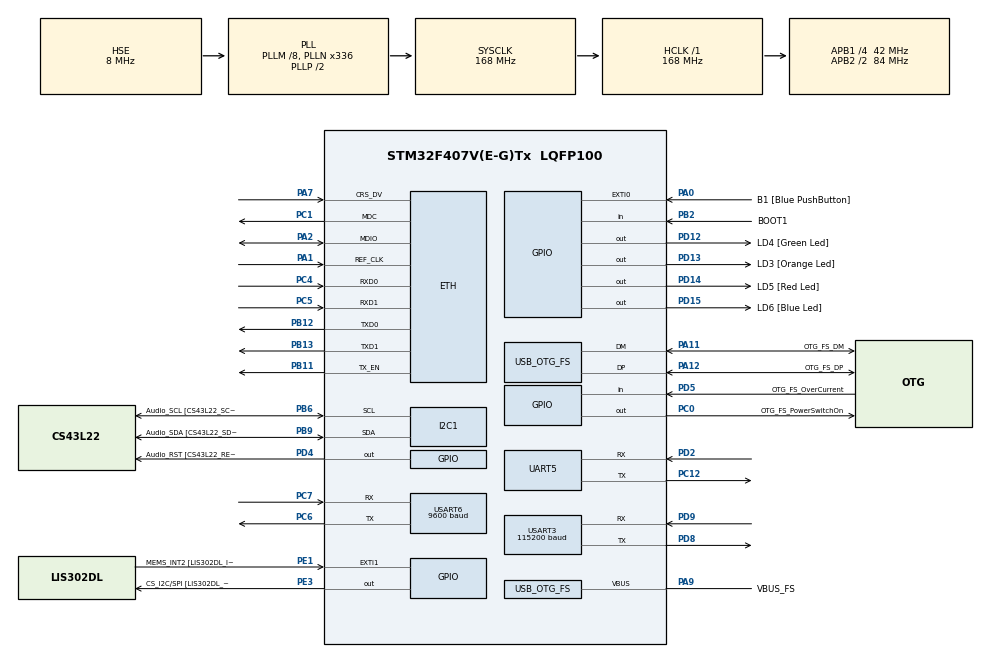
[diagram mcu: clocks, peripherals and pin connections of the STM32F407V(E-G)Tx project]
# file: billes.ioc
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ETH.MACAddr=00\:80\:E1\:00\:00\:29
ETH.MediaInterface=ETH_MEDIA_INTERFACE_RMII
ETH.PhyAddress=0
LWIP.GATEWAY_ADDRESS=192.168.001.254
LWIP.IP_ADDRESS=192.168.001.029
LWIP.LWIP_DHCP=0
LWIP.LWIP_HTTPD=1
LWIP.LWIP_HTTPD_CUSTOM_FILES=1
LWIP.LWIP_HTTPD_DYNAMIC_HEADERS=1
LWIP.NETMASK_ADDRESS=255.255.255.000
LWIP.Version=v2.0.3_Cube
Mcu.Family=STM32F4
Mcu.Name=STM32F407V(E-G)Tx
Mcu.Package=LQFP100
NVIC.OTG_FS_IRQn=true\:0\:0\:false\:false\:true\:true\:true
NVIC.PriorityGroup=NVIC_PRIORITYGROUP_0
NVIC.USART3_IRQn=true\:0\:0\:false\:false\:true\:true\:true
NVIC.USART6_IRQn=true\:0\:0\:false\:false\:true\:true\:true
PA0-WKUP.GPIO_Label=B1 [Blue PushButton]
PA0-WKUP.GPIO_ModeDefaultEXTI=GPIO_MODE_EVT_RISING
PA0-WKUP.GPIO_PuPd=GPIO_NOPULL
PA0-WKUP.Signal=GPXTI0
PA1.Mode=RMII
PA1.Signal=ETH_REF_CLK
PA10.GPIO_Label=OTG_FS_ID
PA10.GPIO_Mode=GPIO_MODE_AF_PP
PA10.GPIO_PuPd=GPIO_NOPULL
PA10.GPIO_Speed=GPIO_SPEED_FREQ_LOW
PA10.Signal=USB_OTG_FS_ID
PA11.GPIO_Label=OTG_FS_DM
PA11.GPIO_Mode=GPIO_MODE_AF_PP
PA11.GPIO_PuPd=GPIO_NOPULL
PA11.GPIO_Speed=GPIO_SPEED_FREQ_LOW
PA11.Mode=Host_Only
PA11.Signal=USB_OTG_FS_DM
PA12.GPIO_Label=OTG_FS_DP
PA12.GPIO_Mode=GPIO_MODE_AF_PP
PA12.GPIO_PuPd=GPIO_NOPULL
PA12.GPIO_Speed=GPIO_SPEED_FREQ_LOW
PA12.Mode=Host_Only
PA12.Signal=USB_OTG_FS_DP
PA13.GPIO_Label=SWDIO
PA13.Mode=Serial_Wire
PA13.Signal=SYS_JTMS-SWDIO
PA14.GPIO_Label=SWCLK
PA14.Mode=Serial_Wire
PA14.Signal=SYS_JTCK-SWCLK
PA2.Mode=RMII
PA2.Signal=ETH_MDIO
PA4.GPIO_Label=I2S3_WS [CS43L22_LRCK]
PA4.GPIO_Mode=GPIO_MODE_AF_PP
PA4.GPIO_PuPd=GPIO_NOPULL
PA4.GPIO_Speed=GPIO_SPEED_FREQ_LOW
PA4.Signal=I2S3_WS
PA5.GPIO_Label=SPI1_SCK [LIS302DL_SCL/SPC]
PA5.GPIO_Mode=GPIO_MODE_AF_PP
PA5.GPIO_PuPd=GPIO_NOPULL
PA5.GPIO_Speed=GPIO_SPEED_FREQ_LOW
PA5.Signal=SPI1_SCK
PA6.GPIO_Label=SPI1_MISO [LIS302DL_SDO]
PA6.GPIO_Mode=GPIO_MODE_AF_PP
PA6.GPIO_PuPd=GPIO_NOPULL
PA6.GPIO_Speed=GPIO_SPEED_FREQ_LOW
PA6.Signal=SPI1_MISO
PA7.Mode=RMII
PA7.Signal=ETH_CRS_DV
PA9.GPIO_Label=VBUS_FS
PA9.GPIO_Mode=GPIO_MODE_INPUT
PA9.GPIO_PuPd=GPIO_NOPULL
PA9.Mode=Activate_VBUS
PA9.Signal=USB_OTG_FS_VBUS
PB10.GPIO_Label=CLK_IN [MP45DT02_CLK]
PB10.GPIO_Mode=GPIO_MODE_AF_PP
PB10.GPIO_PuPd=GPIO_NOPULL
PB10.GPIO_Speed=GPIO_SPEED_FREQ_LOW
PB10.Signal=I2S2_CK
PB11.Mode=RMII
PB11.Signal=ETH_TX_EN
PB12.Mode=RMII
PB12.Signal=ETH_TXD0
PB13.Mode=RMII
PB13.Signal=ETH_TXD1
PB2.GPIO_Label=BOOT1
PB2.GPIO_Mode=GPIO_MODE_INPUT
PB2.GPIO_PuPd=GPIO_NOPULL
PB2.Signal=GPIO_Input
PB3.GPIO_Label=SWO
PB3.Signal=SYS_JTDO-SWO
PB6.GPIO_Label=Audio_SCL [CS43L22_SCL]
PB6.GPIO_Mode=GPIO_MODE_AF_OD
PB6.GPIO_PuPd=GPIO_NOPULL
PB6.GPIO_Speed=GPIO_SPEED_FREQ_LOW
PB6.Mode=I2C
PB6.Signal=I2C1_SCL
PB9.GPIO_Label=Audio_SDA [CS43L22_SDA]
PB9.GPIO_Mode=GPIO_MODE_AF_OD
PB9.GPIO_PuPd=GPIO_NOPULL
PB9.GPIO_Speed=GPIO_SPEED_FREQ_LOW
PB9.Mode=I2C
PB9.Signal=I2C1_SDA
PC0.GPIO_Label=OTG_FS_PowerSwitchOn
PC0.GPIO_PuPd=GPIO_NOPULL
PC0.GPIO_Speed=GPIO_SPEED_FREQ_LOW
PC0.PinState=GPIO_PIN_SET
PC0.Signal=GPIO_Output
PC1.Mode=RMII
PC1.Signal=ETH_MDC
PC10.GPIO_Label=I2S3_SCK [CS43L22_SCLK]
PC10.GPIO_Mode=GPIO_MODE_AF_PP
PC10.GPIO_PuPd=GPIO_NOPULL
PC10.GPIO_Speed=GPIO_SPEED_FREQ_LOW
PC10.Signal=I2S3_CK
PC12.Mode=Asynchronous
PC12.Signal=UART5_TX
PC14-OSC32_IN.GPIO_Label=PC14-OSC32_IN
PC14-OSC32_IN.Mode=LSE-External-Oscillator
PC14-OSC32_IN.Signal=RCC_OSC32_IN
PC15-OSC32_OUT.GPIO_Label=PC15-OSC32_OUT
PC15-OSC32_OUT.Mode=LSE-External-Oscillator
PC15-OSC32_OUT.Signal=RCC_OSC32_OUT
PC3.GPIO_Label=PDM_OUT [MP45DT02_DOUT]
PC3.GPIO_Mode=GPIO_MODE_AF_PP
PC3.GPIO_PuPd=GPIO_NOPULL
PC3.GPIO_Speed=GPIO_SPEED_FREQ_LOW
PC3.Signal=I2S2_SD
PC4.Mode=RMII
PC4.Signal=ETH_RXD0
PC5.Mode=RMII
PC5.Signal=ETH_RXD1
PC6.Mode=Asynchronous
PC6.Signal=USART6_TX
PC7.Mode=Asynchronous
PC7.Signal=USART6_RX
PD12.GPIO_Label=LD4 [Green Led]
PD12.GPIO_PuPd=GPIO_NOPULL
PD12.GPIO_Speed=GPIO_SPEED_FREQ_LOW
PD12.Signal=GPIO_Output
PD13.GPIO_Label=LD3 [Orange Led]
PD13.GPIO_PuPd=GPIO_NOPULL
PD13.GPIO_Speed=GPIO_SPEED_FREQ_LOW
PD13.Signal=GPIO_Output
PD14.GPIO_Label=LD5 [Red Led]
PD14.GPIO_PuPd=GPIO_NOPULL
PD14.GPIO_Speed=GPIO_SPEED_FREQ_LOW
PD14.Signal=GPIO_Output
PD15.GPIO_Label=LD6 [Blue Led]
PD15.GPIO_PuPd=GPIO_NOPULL
PD15.GPIO_Speed=GPIO_SPEED_FREQ_LOW
PD15.Signal=GPIO_Output
PD2.Mode=Asynchronous
PD2.Signal=UART5_RX
PD4.GPIO_Label=Audio_RST [CS43L22_RESET]
PD4.GPIO_PuPd=GPIO_NOPULL
PD4.GPIO_Speed=GPIO_SPEED_FREQ_LOW
PD4.Signal=GPIO_Output
PD5.GPIO_Label=OTG_FS_OverCurrent
PD5.GPIO_Mode=GPIO_MODE_INPUT
PD5.GPIO_PuPd=GPIO_NOPULL
PD5.Signal=GPIO_Input
PD8.Mode=Asynchronous
PD8.Signal=USART3_TX
PD9.Mode=Asynchronous
PD9.Signal=USART3_RX
PE1.GPIO_Label=MEMS_INT2 [LIS302DL_INT2]
PE1.GPIO_ModeDefaultEXTI=GPIO_MODE_EVT_RISING
PE1.GPIO_PuPd=GPIO_NOPULL
PE1.Signal=GPXTI1
PE3.GPIO_Label=CS_I2C/SPI [LIS302DL_CS_I2C/SPI]
PE3.GPIO_PuPd=GPIO_NOPULL
PE3.GPIO_Speed=GPIO_SPEED_FREQ_LOW
PE3.Signal=GPIO_Output
PH0-OSC_IN.GPIO_Label=PH0-OSC_IN
PH0-OSC_IN.Mode=HSE-External-Oscillator
PH0-OSC_IN.Signal=RCC_OSC_IN
PH1-OSC_OUT.GPIO_Label=PH1-OSC_OUT
PH1-OSC_OUT.Mode=HSE-External-Oscillator
PH1-OSC_OUT.Signal=RCC_OSC_OUT
ProjectManager.HeapSize=0x200
ProjectManager.StackSize=0x400
ProjectManager.TargetToolchain=Makefile
RCC.48MHZClocksFreq_Value=48000000
RCC.AHBFreq_Value=168000000
RCC.APB1CLKDivider=RCC_HCLK_DIV4
RCC.APB1Freq_Value=42000000
RCC.APB1TimFreq_Value=84000000
RCC.APB2CLKDivider=RCC_HCLK_DIV2
RCC.APB2Freq_Value=84000000
RCC.APB2TimFreq_Value=168000000
RCC.CortexFreq_Value=168000000
RCC.HCLKFreq_Value=168000000
RCC.HSE_VALUE=8000000
RCC.HSI_VALUE=16000000
RCC.PLLM=8
RCC.PLLN=336
RCC.PLLQ=7
RCC.SYSCLKFreq_VALUE=168000000
RCC.SYSCLKSource=RCC_SYSCLKSOURCE_PLLCLK
RCC.VCOOutputFreq_Value=336000000
UART5.VirtualMode=Asynchronous
USART3.BaudRate=115200
USART3.VirtualMode=VM_ASYNC
USART6.BaudRate=9600
USART6.VirtualMode=VM_ASYNC
USB_HOST.BSP.number=1
USB_HOST.USBH_HandleTypeDef-CDC_FS=hUsbHostFS
USB_HOST.VirtualModeFS=Cdc
USB_HOST0.BSP.STBoard=false
USB_HOST0.BSP.api=Unknown
USB_HOST0.BSP.i2caddr=0
USB_HOST0.BSP.i2creg=0
USB_HOST0.BSP.instance=PC0
USB_HOST0.BSP.ip=GPIO
USB_HOST0.BSP.mode=Output
USB_HOST0.BSP.name=Drive_VBUS_FS
USB_HOST0.BSP.solution=PC0
USB_OTG_FS.VirtualMode=Host_Only
USB_OTG_FS.phy_itface=HCD_PHY_EMBEDDED
VP_LWIP_VS_Enabled.Mode=Enabled
VP_USB_HOST_VS_USB_HOST_CDC_FS.Mode=CDC_FS
board=STM32F407G-DISC1

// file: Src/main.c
/* USER CODE BEGIN Header */
/**
 ******************************************************************************
 * @file           : main.c
 * @brief          : Main program body
 ******************************************************************************
 * @attention
 *
 * <h2><center>&copy; Copyright (c) 2019 STMicroelectronics.
 * All rights reserved.</center></h2>
 *
 * This software component is licensed by ST under Ultimate Liberty license
 * SLA0044, the "License"; You may not use this file except in compliance with
 * the License. You may obtain a copy of the License at:
 *                             www.st.com/SLA0044
 *
 ******************************************************************************
 */
/* USER CODE END Header */

#include "main.h"
#include "lwip.h"
#include "usb_host.h"

/* USER CODE BEGIN Includes */
#include "httpd.h"
#include <stdio.h>
#include <string.h>

#include <bum_player.h>

/* USER CODE END Includes */

/* USER CODE BEGIN PD */

#define PLAYER_NAME "Jojo"

/* USER CODE END PD */

I2C_HandleTypeDef hi2c1;

UART_HandleTypeDef huart5;
UART_HandleTypeDef huart3;
UART_HandleTypeDef huart6;

/* USER CODE BEGIN PV */

event e;

#define TIM2_MS 10
#define BUMPER_DT_MS 100

/* USER CODE END PV */

void SystemClock_Config(void);
static void MX_GPIO_Init(void);
static void MX_I2C1_Init(void);
static void MX_USART6_UART_Init(void);
static void MX_UART5_Init(void);
static void MX_USART3_UART_Init(void);
void MX_USB_HOST_Process(void);

/* USER CODE BEGIN 0 */

// Serial constants
USART_TypeDef* SERIAL = USART6;
UART_HandleTypeDef* UART_SERIAL = &huart6;
uint8_t serial_char = 0;

// Accelerometer constants
USART_TypeDef* ACCELEROMETER = UART5;
UART_HandleTypeDef* UART_ACCELEROMETER = &huart5;
#define ACCELEROMETER_FRAMES_LEN 3
int8_t acceloremeter_in[ACCELEROMETER_FRAMES_LEN];

void HAL_UART_RxCpltCallback(UART_HandleTypeDef* huart) {
    // SERIAL message
    if (huart->Instance == SERIAL) {
        // TODO: do something

        // Restart receiving data on USART6
        HAL_UART_Receive_IT(UART_SERIAL, &serial_char, 1);
    } else if (huart->Instance == ACCELEROMETER) {
        // Accelerometer message

        // Decode accelerations
        int8_t x = acceloremeter_in[0];
        int8_t y = acceloremeter_in[1];
        int8_t z = acceloremeter_in[2];

        bum_game_acceleration(x, y, z);

        // Restart receiving data on accelerometer
        HAL_UART_Receive_IT(UART_ACCELEROMETER, acceloremeter_in,
            ACCELEROMETER_FRAMES_LEN);
    }
}

int _write(int file, char* ptr, int len) {
    HAL_UART_Transmit(UART_SERIAL, (uint8_t*)ptr, len, 1000);
    return len;
}

void bumper_signal_error(int x) {
    HAL_GPIO_WritePin(LD3_GPIO_Port, LD5_Pin, 1); // RED

    char buff[20];
    sprintf(buff, "ERROR %d<br/>", x);

    bum_log(buff);
}

void bumper_signal_debug(int x) {
    HAL_GPIO_TogglePin(LD6_GPIO_Port, LD6_Pin); // BLUE
}

// **********************************************************************************************
// **********************************************************************************************
// **********************************************************************************************
// **********************************************************************************************
// ----------------------------------------------------------------------------------------------
// PLAYER
BumperProtocolPlayer bum_player;

#define JSON_ORDERS_SIZE 500
char json_orders[JSON_ORDERS_SIZE + 1];

int bumper_game_step(uint8_t step, uint8_t param) {
    int len = strlen(json_orders);
    if (len > JSON_ORDERS_SIZE - 50)
        return 0;

    char msg[40];
    msg[0] = 0;
    switch (step) {
    case BUM_STEP_REGISTERED:
        switch (param) {
        case 0: // internal error
            strcpy(msg, "Internal Error");
            break;
        case 1: // OK
            strcpy(msg, "OK registered as ");
            strcat(msg, bum_player.name);
            break;
        case 2: // OK but already registered
            strcpy(msg, "OK already as ");
            strcat(msg, bum_player.name);
            break;
        case 3: // NO, too many players
            strcpy(msg, "Too many players");
            break;
        case 4: // NO, game already started
            strcpy(msg, "Too late");
            break;
        default:
            strcpy(msg, "param ???");
            break;
        }
        break;

    case BUM_STEP_START:
        strcpy(msg, "Playing as ");
        strcat(msg, bum_player.name);
        break;
        break;

    case BUM_STEP_RESULT:
        break;

    case BUM_STEP_END:
        sprintf(msg, "Game Over");
        break;

    default:
        strcpy(msg, "step ???");
        break;
    }

    if (msg[0]) {
        sprintf(json_orders + len,
            "{\"display\":[{\"id\":\"step\",\"x\":200,\"y\":-5,\"content\":\"%"
            "s\"}]},",
            msg);
    }

    return 1;
}

int bumper_game_new_player(uint8_t id, const char* name, uint32_t color) {
    int len = strlen(json_orders);
    if (len > JSON_ORDERS_SIZE - 50)
        return 0;
    sprintf(json_orders + len,
        "{\"new_player\":[{\"i\":%d,\"name\":\"%s\",\"color\": \"#%06X\"}]},",
        (unsigned int)id, name, (unsigned int)color);
    return 1;
}

int bumper_game_player_move(uint8_t id, uint16_t x, uint16_t y, uint16_t s) {
    int len = strlen(json_orders);
    if (len > JSON_ORDERS_SIZE - 50)
        return 0;
    sprintf(json_orders + len,
        "{\"move\":[{\"i\":%d,\"x\":%d,\"y\":%d,\"a\":%d,\"s\":%d}]},",
        (unsigned int)id, (unsigned int)x, (unsigned int)y, 0,
        (unsigned int)s);
    return 1;
}

int bumper_game_print(const char* msg) {
    int len = strlen(json_orders);
    if (len > JSON_ORDERS_SIZE - 50)
        return 0;
    sprintf(json_orders + len,
        "{\"display\":[{\"id\":\"score\",\"x\":10,\"y\":-5,\"content\":\"%"
        "s\"}]},",
        msg);
    return 1;
}

void bumper_init_player() {
    bum_player.game_step = bumper_game_step;
    bum_player.game_new_player = bumper_game_new_player;
    bum_player.game_player_move = bumper_game_player_move;
    bum_player.game_print = bumper_game_print;

    bum_player.error = bumper_signal_error;
    bum_player.debug = bumper_signal_debug;

    bum_init_player(&bum_player);
}

uint8_t user_button_pushed = 0;

int check_board_id() {
    uint32_t UID[3];
    UID[0] = HAL_GetUIDw0();
    UID[1] = HAL_GetUIDw1();
    UID[2] = HAL_GetUIDw2();

    uint32_t UID_COORDINATOR[3];
    UID_COORDINATOR[0] = 0x002d0025;
    UID_COORDINATOR[1] = 0x3137470f;
    UID_COORDINATOR[2] = 0x30373234;

    uint32_t UID_PLAYER_1[3];
    UID_PLAYER_1[0] = 0x470058;
    UID_PLAYER_1[1] = 0x58485018;
    UID_PLAYER_1[2] = 0x20383852;

    if ((UID[0] == UID_COORDINATOR[0]) && (UID[1] == UID_COORDINATOR[1]) && (UID[2] == UID_COORDINATOR[2]))
        return 0;

    if ((UID[0] == UID_PLAYER_1[0]) && (UID[1] == UID_PLAYER_1[1]) && (UID[2] == UID_PLAYER_1[2]))
        return 1;

    return 2;
}

WebInterface wi;

/* USER CODE END 0 */

int main(void) {

    /* MCU Configuration--------------------------------------------------------*/

    /* Reset of all peripherals, Initializes the Flash interface and the Systick.
   */
    HAL_Init();

    /* Configure the system clock */
    SystemClock_Config();

    /* USER CODE BEGIN SysInit */

    // UART3 : XBee
    // UART5 : MEMS board
    // UART6 : debug / 232

    /* USER CODE END SysInit */

    /* Initialize all configured peripherals */
    MX_GPIO_Init();
    MX_I2C1_Init();
    MX_USB_HOST_Init();
    MX_USART6_UART_Init();
    MX_UART5_Init();
    MX_USART3_UART_Init();
    MX_LWIP_Init();
    /* USER CODE BEGIN 2 */

    web_interface_init(&wi);

    event_init(&e);

    HAL_UART_Receive_IT(UART_SERIAL, &serial_char, 1);
    // start receiving data on accelerometer
    HAL_UART_Receive_IT(UART_ACCELEROMETER, acceloremeter_in,
        ACCELEROMETER_FRAMES_LEN);

    /* USER CODE END 2 */

    /* Infinite loop */
    /* USER CODE BEGIN WHILE */

    httpd_init();

    bumper_init_player();

    strcpy(json_orders, "{\"L\":[");

    // v = xbee_configure_API1();

    while (1) {
        /* USER CODE END WHILE */
        MX_USB_HOST_Process();

        /* USER CODE BEGIN 3 */

        // Make ETH work
        MX_LWIP_Process();

        // LD3 (orange), LD4 (green), LD5 (red) and LD6 (blue)

        bum_process_player();

        // Execute buttons pushed in web interface
        if (event_check(&wi.evt)) {
            if (wi.button_register_player) {
                wi.button_register_player = 0;
                bum_game_register(bum_player.name);
            }

            if (wi.button_acc) {
                wi.button_acc = 0;
                bum_game_acceleration(wi.acc_x, wi.acc_y, 0);
            }
        }

        if (event_check(&e)) // If the event has been triggered
        {
            bum_process(TIM2_MS);

            static int N_BUMPER_DT_MS = 0;
            N_BUMPER_DT_MS += TIM2_MS;
            if (N_BUMPER_DT_MS >= BUMPER_DT_MS) {
                N_BUMPER_DT_MS = 0;

                // We remove this line because it is blocking
                // printf( "%u mV\r\n", ( unsigned int )v );
            }

            static int N500 = 0;
            N500 += TIM2_MS;
            if (N500 >= 500) {
                N500 = 0;
                HAL_GPIO_TogglePin(LD3_GPIO_Port, LD3_Pin); // ORANGE
            }
        }
    }
    /* USER CODE END 3 */
}

void SystemClock_Config(void) {
    RCC_OscInitTypeDef RCC_OscInitStruct = { 0 };
    RCC_ClkInitTypeDef RCC_ClkInitStruct = { 0 };

    /** Configure the main internal regulator output voltage
   */
    __HAL_RCC_PWR_CLK_ENABLE();
    __HAL_PWR_VOLTAGESCALING_CONFIG(PWR_REGULATOR_VOLTAGE_SCALE1);
    /** Initializes the CPU, AHB and APB busses clocks
   */
    RCC_OscInitStruct.OscillatorType = RCC_OSCILLATORTYPE_HSE;
    RCC_OscInitStruct.HSEState = RCC_HSE_ON;
    RCC_OscInitStruct.PLL.PLLState = RCC_PLL_ON;
    RCC_OscInitStruct.PLL.PLLSource = RCC_PLLSOURCE_HSE;
    RCC_OscInitStruct.PLL.PLLM = 8;
    RCC_OscInitStruct.PLL.PLLN = 336;
    RCC_OscInitStruct.PLL.PLLP = RCC_PLLP_DIV2;
    RCC_OscInitStruct.PLL.PLLQ = 7;
    if (HAL_RCC_OscConfig(&RCC_OscInitStruct) != HAL_OK) {
        Error_Handler();
    }
    /** Initializes the CPU, AHB and APB busses clocks
   */
    RCC_ClkInitStruct.ClockType = RCC_CLOCKTYPE_HCLK | RCC_CLOCKTYPE_SYSCLK | RCC_CLOCKTYPE_PCLK1 | RCC_CLOCKTYPE_PCLK2;
    RCC_ClkInitStruct.SYSCLKSource = RCC_SYSCLKSOURCE_PLLCLK;
    RCC_ClkInitStruct.AHBCLKDivider = RCC_SYSCLK_DIV1;
    RCC_ClkInitStruct.APB1CLKDivider = RCC_HCLK_DIV4;
    RCC_ClkInitStruct.APB2CLKDivider = RCC_HCLK_DIV2;

    if (HAL_RCC_ClockConfig(&RCC_ClkInitStruct, FLASH_LATENCY_5) != HAL_OK) {
        Error_Handler();
    }
}

static void MX_I2C1_Init(void) {

    hi2c1.Instance = I2C1;
    hi2c1.Init.ClockSpeed = 100000;
    hi2c1.Init.DutyCycle = I2C_DUTYCYCLE_2;
    hi2c1.Init.OwnAddress1 = 0;
    hi2c1.Init.AddressingMode = I2C_ADDRESSINGMODE_7BIT;
    hi2c1.Init.DualAddressMode = I2C_DUALADDRESS_DISABLE;
    hi2c1.Init.OwnAddress2 = 0;
    hi2c1.Init.GeneralCallMode = I2C_GENERALCALL_DISABLE;
    hi2c1.Init.NoStretchMode = I2C_NOSTRETCH_DISABLE;
    if (HAL_I2C_Init(&hi2c1) != HAL_OK) {
        Error_Handler();
    }
}

static void MX_UART5_Init(void) {

    huart5.Instance = UART5;
    huart5.Init.BaudRate = 115200;
    huart5.Init.WordLength = UART_WORDLENGTH_8B;
    huart5.Init.StopBits = UART_STOPBITS_1;
    huart5.Init.Parity = UART_PARITY_NONE;
    huart5.Init.Mode = UART_MODE_TX_RX;
    huart5.Init.HwFlowCtl = UART_HWCONTROL_NONE;
    huart5.Init.OverSampling = UART_OVERSAMPLING_16;
    if (HAL_UART_Init(&huart5) != HAL_OK) {
        Error_Handler();
    }
}

static void MX_USART3_UART_Init(void) {

    huart3.Instance = USART3;
    huart3.Init.BaudRate = 9600;
    huart3.Init.WordLength = UART_WORDLENGTH_8B;
    huart3.Init.StopBits = UART_STOPBITS_1;
    huart3.Init.Parity = UART_PARITY_NONE;
    huart3.Init.Mode = UART_MODE_TX_RX;
    huart3.Init.HwFlowCtl = UART_HWCONTROL_NONE;
    huart3.Init.OverSampling = UART_OVERSAMPLING_16;
    if (HAL_UART_Init(&huart3) != HAL_OK) {
        Error_Handler();
    }
    /* USER CODE BEGIN USART3_Init 2 */

    __HAL_UART_ENABLE_IT(&huart3, UART_IT_RXNE);

    /* USER CODE END USART3_Init 2 */
}

static void MX_USART6_UART_Init(void) {

    huart6.Instance = USART6;
    huart6.Init.BaudRate = 115200;
    huart6.Init.WordLength = UART_WORDLENGTH_8B;
    huart6.Init.StopBits = UART_STOPBITS_1;
    huart6.Init.Parity = UART_PARITY_NONE;
    huart6.Init.Mode = UART_MODE_TX_RX;
    huart6.Init.HwFlowCtl = UART_HWCONTROL_NONE;
    huart6.Init.OverSampling = UART_OVERSAMPLING_16;
    if (HAL_UART_Init(&huart6) != HAL_OK) {
        Error_Handler();
    }
}

static void MX_GPIO_Init(void) {
    GPIO_InitTypeDef GPIO_InitStruct = { 0 };

    /* GPIO Ports Clock Enable */
    __HAL_RCC_GPIOE_CLK_ENABLE();
    __HAL_RCC_GPIOC_CLK_ENABLE();
    __HAL_RCC_GPIOH_CLK_ENABLE();
    __HAL_RCC_GPIOA_CLK_ENABLE();
    __HAL_RCC_GPIOB_CLK_ENABLE();
    __HAL_RCC_GPIOD_CLK_ENABLE();

    /*Configure GPIO pin Output Level */
    HAL_GPIO_WritePin(CS_I2C_SPI_GPIO_Port, CS_I2C_SPI_Pin, GPIO_PIN_RESET);

    /*Configure GPIO pin Output Level */
    HAL_GPIO_WritePin(OTG_FS_PowerSwitchOn_GPIO_Port, OTG_FS_PowerSwitchOn_Pin,
        GPIO_PIN_SET);

    /*Configure GPIO pin Output Level */
    HAL_GPIO_WritePin(GPIOD,
        LD4_Pin | LD3_Pin | LD5_Pin | LD6_Pin | Audio_RST_Pin,
        GPIO_PIN_RESET);

    /*Configure GPIO pin : CS_I2C_SPI_Pin */
    GPIO_InitStruct.Pin = CS_I2C_SPI_Pin;
    GPIO_InitStruct.Mode = GPIO_MODE_OUTPUT_PP;
    GPIO_InitStruct.Pull = GPIO_NOPULL;
    GPIO_InitStruct.Speed = GPIO_SPEED_FREQ_LOW;
    HAL_GPIO_Init(CS_I2C_SPI_GPIO_Port, &GPIO_InitStruct);

    /*Configure GPIO pin : OTG_FS_PowerSwitchOn_Pin */
    GPIO_InitStruct.Pin = OTG_FS_PowerSwitchOn_Pin;
    GPIO_InitStruct.Mode = GPIO_MODE_OUTPUT_PP;
    GPIO_InitStruct.Pull = GPIO_NOPULL;
    GPIO_InitStruct.Speed = GPIO_SPEED_FREQ_LOW;
    HAL_GPIO_Init(OTG_FS_PowerSwitchOn_GPIO_Port, &GPIO_InitStruct);

    /*Configure GPIO pin : PDM_OUT_Pin */
    GPIO_InitStruct.Pin = PDM_OUT_Pin;
    GPIO_InitStruct.Mode = GPIO_MODE_AF_PP;
    GPIO_InitStruct.Pull = GPIO_NOPULL;
    GPIO_InitStruct.Speed = GPIO_SPEED_FREQ_LOW;
    GPIO_InitStruct.Alternate = GPIO_AF5_SPI2;
    HAL_GPIO_Init(PDM_OUT_GPIO_Port, &GPIO_InitStruct);

    /*Configure GPIO pin : B1_Pin */
    GPIO_InitStruct.Pin = B1_Pin;
    GPIO_InitStruct.Mode = GPIO_MODE_EVT_RISING;
    GPIO_InitStruct.Pull = GPIO_NOPULL;
    HAL_GPIO_Init(B1_GPIO_Port, &GPIO_InitStruct);

    /*Configure GPIO pin : BOOT1_Pin */
    GPIO_InitStruct.Pin = BOOT1_Pin;
    GPIO_InitStruct.Mode = GPIO_MODE_INPUT;
    GPIO_InitStruct.Pull = GPIO_NOPULL;
    HAL_GPIO_Init(BOOT1_GPIO_Port, &GPIO_InitStruct);

    /*Configure GPIO pin : CLK_IN_Pin */
    GPIO_InitStruct.Pin = CLK_IN_Pin;
    GPIO_InitStruct.Mode = GPIO_MODE_AF_PP;
    GPIO_InitStruct.Pull = GPIO_NOPULL;
    GPIO_InitStruct.Speed = GPIO_SPEED_FREQ_LOW;
    GPIO_InitStruct.Alternate = GPIO_AF5_SPI2;
    HAL_GPIO_Init(CLK_IN_GPIO_Port, &GPIO_InitStruct);

    /*Configure GPIO pins : LD4_Pin LD3_Pin LD5_Pin LD6_Pin
                           Audio_RST_Pin */
    GPIO_InitStruct.Pin = LD4_Pin | LD3_Pin | LD5_Pin | LD6_Pin | Audio_RST_Pin;
    GPIO_InitStruct.Mode = GPIO_MODE_OUTPUT_PP;
    GPIO_InitStruct.Pull = GPIO_NOPULL;
    GPIO_InitStruct.Speed = GPIO_SPEED_FREQ_LOW;
    HAL_GPIO_Init(GPIOD, &GPIO_InitStruct);

    /*Configure GPIO pin : I2S3_SCK_Pin */
    GPIO_InitStruct.Pin = I2S3_SCK_Pin;
    GPIO_InitStruct.Mode = GPIO_MODE_AF_PP;
    GPIO_InitStruct.Pull = GPIO_NOPULL;
    GPIO_InitStruct.Speed = GPIO_SPEED_FREQ_LOW;
    GPIO_InitStruct.Alternate = GPIO_AF6_SPI3;
    HAL_GPIO_Init(I2S3_SCK_GPIO_Port, &GPIO_InitStruct);

    /*Configure GPIO pin : OTG_FS_OverCurrent_Pin */
    GPIO_InitStruct.Pin = OTG_FS_OverCurrent_Pin;
    GPIO_InitStruct.Mode = GPIO_MODE_INPUT;
    GPIO_InitStruct.Pull = GPIO_NOPULL;
    HAL_GPIO_Init(OTG_FS_OverCurrent_GPIO_Port, &GPIO_InitStruct);

    /*Configure GPIO pin : MEMS_INT2_Pin */
    GPIO_InitStruct.Pin = MEMS_INT2_Pin;
    GPIO_InitStruct.Mode = GPIO_MODE_EVT_RISING;
    GPIO_InitStruct.Pull = GPIO_NOPULL;
    HAL_GPIO_Init(MEMS_INT2_GPIO_Port, &GPIO_InitStruct);
}

void Error_Handler(void) {
}

#ifdef USE_FULL_ASSERT
/**
 * @brief  Reports the name of the source file and the source line number
 *         where the assert_param error has occurred.
 * @param  file: pointer to the source file name
 * @param  line: assert_param error line source number
 * @retval None
 */
void assert_failed(uint8_t* file, uint32_t line) {
    /* USER CODE BEGIN 6 */
    /* User can add his own implementation to report the file name and line
   number, tex: printf("Wrong parameters value: file %s on line %d\r\n", file,
   line) */
    /* USER CODE END 6 */
}
#endif /* USE_FULL_ASSERT */

/************************ (C) COPYRIGHT STMicroelectronics *****END OF FILE****/
